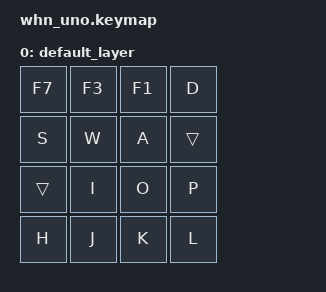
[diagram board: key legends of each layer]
/*
 * Copyright (c) 2022 The ZMK Contributors
 *
 * SPDX-License-Identifier: MIT
 */

#include <behaviors.dtsi>
#include <dt-bindings/zmk/keys.h>
#include <dt-bindings/zmk/backlight.h>
#include <dt-bindings/zmk/bt.h>
#include <dt-bindings/zmk/ext_power.h>
#include <dt-bindings/zmk/rgb.h>

// Uncomment the following lines if using the "Direct Wire" jumper to switch the matrix to a direct wire.

/ {
    chosen {
        zmk,physical-layout = &direct_physical_layout;
    };
};

/ {
    keymap {
        compatible = "zmk,keymap";

        default_layer {
            bindings = <
                &kp F7 &kp F3 &kp F1 &kp D
                &kp S &kp W &kp A &trans
                &trans &kp I &kp O &kp P
                &kp H &kp J &kp K &kp L
           >;
        };
    };
};
